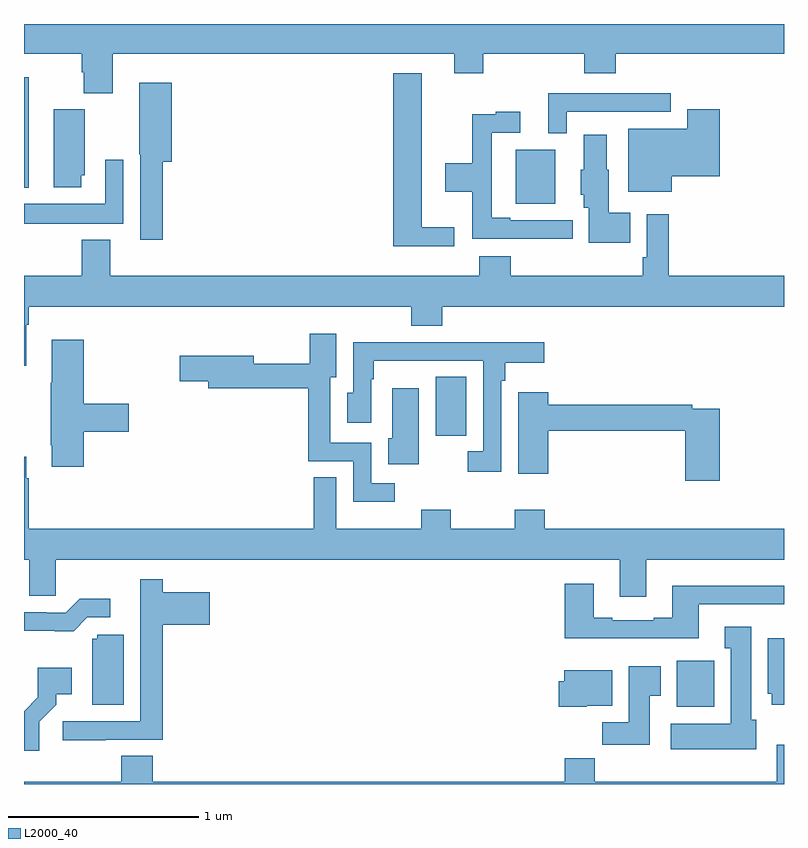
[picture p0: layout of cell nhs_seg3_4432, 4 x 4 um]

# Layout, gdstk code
import gdstk
lib = gdstk.Library(unit=1e-6, precision=1e-09)
def R(c, l, rs):  # rectangles x0, y0, x1, y1
    for r in rs: c.add(gdstk.rectangle(r[:2], r[2:], *l))
def P(c, l, *ps):  # polygons
    for p in ps: c.add(gdstk.Polygon(p, *l))
L2000_40 = (2000, 40)

nhs_seg3_4432 = lib.new_cell('nhs_seg3_4432')
R(nhs_seg3_4432, L2000_40, [(350.435,702.806,350.632,703.048), (349.166,704.232,349.327,704.543), (349.589,705.455,349.795,705.739), (347,705.539,347.026,706.12)])
P(nhs_seg3_4432, L2000_40, [(347.468,706.244),(349.265,706.244),(349.265,706.142),(349.418,706.142),(349.418,706.244),(349.949,706.244),(349.949,706.142),(350.114,706.142),(350.114,706.244),(351,706.244),(351,706.4),(347,706.4),(347,706.244),(347.303,706.244),(347.303,706.145),(347.315,706.145),(347.315,706.036),(347.468,706.036)],
  [(349.264,705.329),(349.093,705.329),(349.093,706.141),(348.944,706.141),(348.944,705.23),(349.264,705.23)],
  [(347.729,705.674),(347.777,705.674),(347.777,706.09),(347.606,706.09),(347.606,705.714),(347.613,705.714),(347.613,705.264),(347.729,705.264)],
  [(349.857,705.939),(350.404,705.939),(350.404,706.035),(349.76,706.035),(349.76,705.824),(349.857,705.824)],
  [(350.41,705.599),(350.663,705.599),(350.663,705.952),(350.492,705.952),(350.492,705.85),(350.18,705.85),(350.18,705.518),(350.41,705.518)],
  [(347.302,705.603),(347.32,705.603),(347.32,705.951),(347.156,705.951),(347.156,705.54),(347.302,705.54)],
  [(349.888,705.366),(349.558,705.366),(349.558,705.379),(349.461,705.379),(349.461,705.828),(349.612,705.828),(349.612,705.937),(349.484,705.937),(349.484,705.926),(349.36,705.926),(349.36,705.666),(349.218,705.666),(349.218,705.518),(349.36,705.518),(349.36,705.27),(349.645,705.27),(349.645,705.269),(349.888,705.269)],
  [(350.192,705.406),(350.077,705.406),(350.077,705.633),(350.068,705.633),(350.068,705.817),(349.946,705.817),(349.946,705.633),(349.931,705.633),(349.931,705.501),(349.946,705.501),(349.946,705.432),(349.973,705.432),(349.973,705.248),(350.192,705.248)],
  [(347.219,705.35),(347.523,705.35),(347.523,705.685),(347.427,705.685),(347.427,705.454),(347,705.454),(347,705.348),(347.219,705.348)],
  [(347.011,704.816),(347.024,704.816),(347.024,704.912),(349.037,704.912),(349.037,704.813),(349.202,704.813),(349.202,704.912),(351,704.912),(351,705.076),(350.393,705.076),(350.393,705.4),(350.277,705.4),(350.277,705.172),(350.257,705.172),(350.257,705.076),(349.562,705.076),(349.562,705.178),(349.397,705.178),(349.397,705.076),(347.455,705.076),(347.455,705.265),(347.303,705.265),(347.303,705.076),(347,705.076),(347,704.601),(347.011,704.601)],
  [(348.952,703.983),(348.828,703.983),(348.828,704.196),(348.613,704.196),(348.613,704.541),(348.643,704.541),(348.643,704.77),(348.505,704.77),(348.505,704.611),(348.208,704.611),(348.208,704.653),(347.82,704.653),(347.82,704.519),(347.969,704.519),(347.969,704.482),(348.495,704.482),(348.495,704.1),(348.732,704.1),(348.732,703.886),(348.952,703.886)],
  [(347.315,704.255),(347.551,704.255),(347.551,704.402),(347.315,704.402),(347.315,704.737),(347.147,704.737),(347.147,704.513),(347.14,704.513),(347.14,704.182),(347.147,704.182),(347.147,704.07),(347.315,704.07)],
  [(349.512,704.522),(349.532,704.522),(349.532,704.618),(349.738,704.618),(349.738,704.726),(349.319,704.726),(349.319,704.724),(348.953,704.724),(348.953,704.726),(348.732,704.726),(348.732,704.46),(348.701,704.46),(348.701,704.301),(348.828,704.301),(348.828,704.531),(348.841,704.531),(348.841,704.627),(349.07,704.627),(349.07,704.628),(349.416,704.628),(349.416,704.151),(349.335,704.151),(349.335,704.043),(349.512,704.043)],
  [(349.078,704.482),(348.938,704.482),(348.938,704.22),(348.917,704.22),(348.917,704.084),(349.078,704.084)],
  [(350.663,704.376),(350.516,704.376),(350.516,704.396),(349.76,704.396),(349.76,704.461),(349.601,704.461),(349.601,704.034),(349.76,704.034),(349.76,704.26),(350.48,704.26),(350.48,703.995),(350.663,703.995)],
  [(350.275,703.58),(351,703.58),(351,703.744),(349.742,703.744),(349.742,703.843),(349.582,703.843),(349.582,703.744),(349.245,703.744),(349.245,703.843),(349.09,703.843),(349.09,703.744),(348.643,703.744),(348.643,704.015),(348.525,704.015),(348.525,703.744),(347.024,703.744),(347.024,704.009),(347.011,704.009),(347.011,704.122),(347,704.122),(347,703.58),(347.027,703.58),(347.027,703.39),(347.166,703.39),(347.166,703.58),(350.135,703.58),(350.135,703.386),(350.275,703.386)],
  [(347.429,702.633),(347.729,702.633),(347.729,703.238),(347.977,703.238),(347.977,703.408),(347.729,703.408),(347.729,703.477),(347.612,703.477),(347.612,703.254),(347.613,703.254),(347.613,702.729),(347.205,702.729),(347.205,702.631),(347.429,702.631)],
  [(350.551,703.347),(351,703.347),(351,703.444),(350.411,703.444),(350.411,703.276),(350.315,703.276),(350.315,703.263),(350.095,703.263),(350.095,703.276),(349.999,703.276),(349.999,703.453),(349.847,703.453),(349.847,703.166),(350.551,703.166)],
  [(347.334,703.278),(347.455,703.278),(347.455,703.375),(347.293,703.375),(347.22,703.302),(347.12,703.302),(347.12,703.305),(347,703.305),(347,703.206),(347.162,703.206),(347.162,703.205),(347.261,703.205)],
  [(350.854,702.738),(350.827,702.738),(350.827,703.228),(350.687,703.228),(350.687,703.115),(350.72,703.115),(350.72,702.718),(350.403,702.718),(350.403,702.584),(350.854,702.584)],
  [(347.524,703.185),(347.385,703.185),(347.385,703.164),(347.36,703.164),(347.36,702.816),(347.524,702.816)],
  [(351,703.168),(350.915,703.168),(350.915,702.876),(350.936,702.876),(350.936,702.816),(351,702.816)],
  [(350.293,702.865),(350.35,702.865),(350.35,703.021),(350.183,703.021),(350.183,702.724),(350.044,702.724),(350.044,702.606),(350.293,702.606)],
  [(347.08,702.727),(347.17,702.817),(347.17,702.872),(347.251,702.872),(347.251,703.012),(347.073,703.012),(347.073,702.857),(347,702.784),(347,702.576),(347.08,702.576)],
  [(349.962,702.812),(350.095,702.812),(350.095,703),(349.844,703),(349.844,702.942),(349.814,702.942),(349.814,702.806),(349.962,702.806)],
  [(351,702.607),(350.963,702.607),(350.963,702.412),(350.003,702.412),(350.003,702.536),(349.847,702.536),(349.847,702.412),(347.678,702.412),(347.678,702.548),(347.513,702.548),(347.513,702.412),(347,702.412),(347,702.4),(351,702.4)])

lib.write_gds('nhs_seg3_4432.gds')
